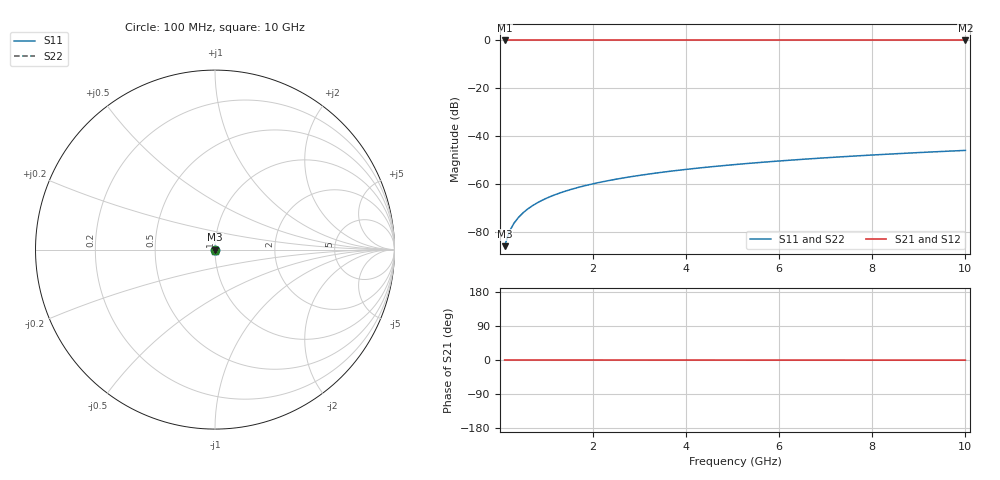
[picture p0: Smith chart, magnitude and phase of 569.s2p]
# Hz S RI R 50.00
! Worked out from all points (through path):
!   100 points, 100 MHz to 10 GHz, reference 50 ohm
!   highest |S21| = 0.00 dB at 100 MHz (marker M1); lowest = 0.0 dB at 10 GHz (marker M2)
!   lowest |S11| = -85.8 dB at 100 MHz (marker M3), VSWR 1.00, Z = 50 - j0.00512 ohm
!   |S11| at or under -10 dB: start of sweep to end of sweep
!   |S22| runs from -85.8 to -45.9 dB; largest |S21 - S12| = 1e-16
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1e8  -4.65e-07 -5.12e-05  1 -5.15e-05  1 -5.15e-05  -4.65e-07 -5.12e-05
2e8  -5.23e-07 -0.000102  1 -0.000103  1 -0.000103  -5.23e-07 -0.000102
3e8  -5.87e-07 -0.000154  1 -0.000155  1 -0.000155  -5.87e-07 -0.000154
4e8  -6.56e-07 -0.000205  1 -0.000206  1 -0.000206  -6.56e-07 -0.000205
5e8  -7.3e-07 -0.000256  1 -0.000258  1 -0.000258  -7.3e-07 -0.000256
6e8  -8.1e-07 -0.000307  1 -0.000309  1 -0.000309  -8.1e-07 -0.000307
7e8  -8.95e-07 -0.000358  1 -0.000361  1 -0.000361  -8.95e-07 -0.000358
8e8  -9.85e-07 -0.000409  1 -0.000412  1 -0.000412  -9.85e-07 -0.000409
1e9  -1.18e-06 -0.000512  1 -0.000515  1 -0.000515  -1.18e-06 -0.000512
1.2e9  -1.4e-06 -0.000614  1 -0.000618  1 -0.000618  -1.4e-06 -0.000614
1.5e9  -1.76e-06 -0.000767  1 -0.000773  1 -0.000773  -1.76e-06 -0.000767
1.8e9  -2.18e-06 -0.000921  1 -0.000927  1 -0.000927  -2.18e-06 -0.000921
2.1e9  -2.64e-06 -0.00107  1 -0.00108  1 -0.00108  -2.64e-06 -0.00107
2.5e9  -3.32e-06 -0.00128  1 -0.00129  1 -0.00129  -3.32e-06 -0.00128
2.9e9  -4.1e-06 -0.00148  1 -0.00149  1 -0.00149  -4.1e-06 -0.00148
3.4e9  -5.18e-06 -0.00174  1 -0.00175  1 -0.00175  -5.18e-06 -0.00174
4.2e9  -7.18e-06 -0.00215  1 -0.00216  1 -0.00216  -7.18e-06 -0.00215
5.1e9  -9.83e-06 -0.0026  1 -0.00262  1 -0.00262  -9.83e-06 -0.0026
5.9e9  -1.25e-05 -0.00301  1 -0.00303  1 -0.00303  -1.25e-05 -0.00301
6.7e9  -1.56e-05 -0.00342  1 -0.00344  1 -0.00344  -1.56e-05 -0.00342
8.4e9  -2.31e-05 -0.00428  1 -0.00431  1 -0.00431  -2.31e-05 -0.00428
1e10  -3.16e-05 -0.00509  1 -0.00513  1 -0.00513  -3.16e-05 -0.00509
